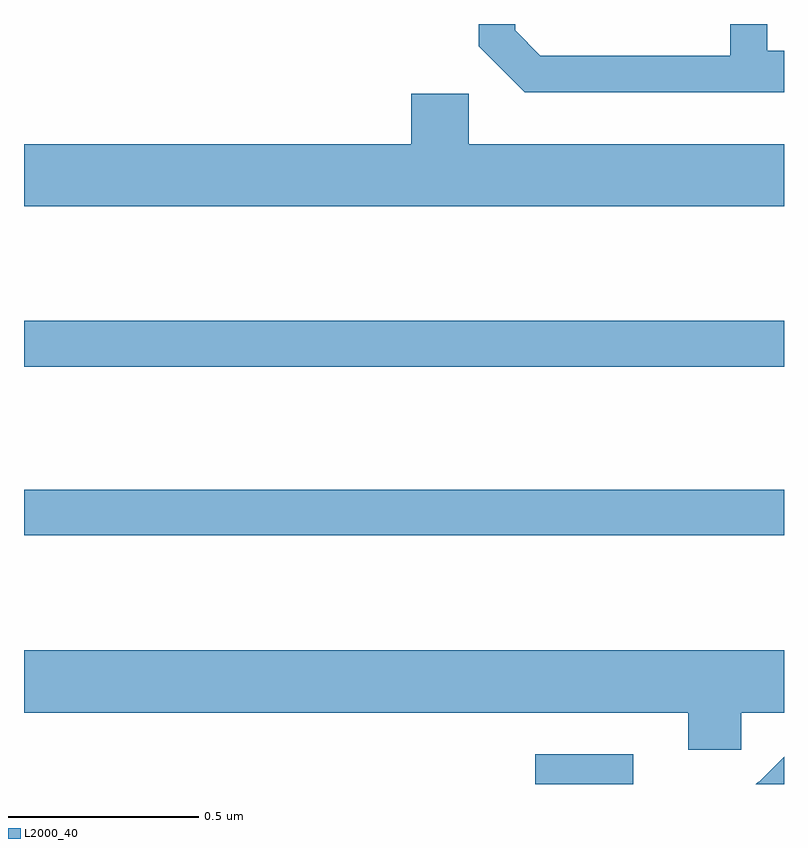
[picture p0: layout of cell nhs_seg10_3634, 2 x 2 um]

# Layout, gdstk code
import gdstk
lib = gdstk.Library(unit=1e-6, precision=1e-09)
def R(c, l, rs):  # rectangles x0, y0, x1, y1
    for r in rs: c.add(gdstk.rectangle(r[:2], r[2:], *l))
def P(c, l, *ps):  # polygons
    for p in ps: c.add(gdstk.Polygon(p, *l))
L2000_40 = (2000, 40)

nhs_seg10_3634 = lib.new_cell('nhs_seg10_3634')
R(nhs_seg10_3634, L2000_40, [(157.345,1261.5,157.603,1261.578), (156,1262.154,158,1262.275), (156,1262.598,158,1262.719)])
P(nhs_seg10_3634, L2000_40, [(158,1263.43),(157.956,1263.43),(157.956,1263.5),(157.859,1263.5),(157.859,1263.417),(157.359,1263.417),(157.293,1263.483),(157.293,1263.5),(157.197,1263.5),(157.197,1263.441),(157.318,1263.32),(158,1263.32)],
  [(158,1263.184),(157.17,1263.184),(157.17,1263.316),(157.019,1263.316),(157.019,1263.184),(156,1263.184),(156,1263.02),(158,1263.02)],
  [(156,1261.688),(157.748,1261.688),(157.748,1261.59),(157.887,1261.59),(157.887,1261.688),(158,1261.688),(158,1261.852),(156,1261.852)],
  [(158,1261.572),(157.933,1261.505),(157.932,1261.506),(157.926,1261.5),(158,1261.5)])

lib.write_gds('nhs_seg10_3634.gds')
